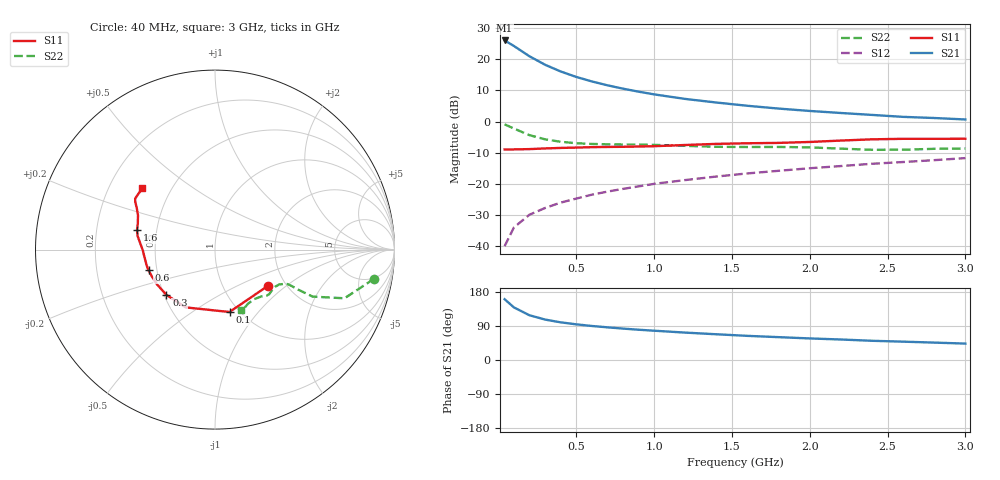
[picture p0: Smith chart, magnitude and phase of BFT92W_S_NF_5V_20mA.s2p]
! Filename:  BFT92WE.S2P  Version:  4.0
! Philips part #: BFT92W  Date: Jun 1994
! Bias condition: Vce=5V, Ic=20mA
#  MHz  S  MA  R  50
! Freq  S11  S21  S12  S22  !GUM [dB]
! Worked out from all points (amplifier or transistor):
!   21 points, 40 MHz to 3 GHz, reference 50 ohm
!   highest |S21| = 26.0 dB at 40 MHz (marker M1)
!   |S21| within 3 dB of that: start of sweep to 136.8 MHz
!   unconditionally stable (mu >= 1): 358.6 MHz to end of sweep
!   at 300 MHz: K = 0.94, MSG = 23.0 dB, |S12| = -27.7 dB
!   at 1 GHz: K = 1.23, MAG = 11.5 dB, |S12| = -20.0 dB
!   at 3 GHz: K = 1.12, MAG = 4.1 dB, |S12| = -11.7 dB
!   lowest NFmin = 3.90 dB at 500 MHz
!   S11 on the Smith chart (normalised r, x): 40 MHz: 1.62, -0.75; 100 MHz: 0.90, -0.72; 300 MHz: 0.51, -0.30; 600 MHz: 0.45, -0.12; 1.6 GHz: 0.39, +0.11; 3 GHz: 0.34, +0.33
40  0.357 -34.6  19.99 160.4  0.01 78.8  0.901 -10.4
100  0.357 -76.9  16.28 138.7  0.02 68.5  0.771 -20.6
200  0.361 -116.9  11.13 118.0  0.032 63.1  0.604 -25.7
300  0.37 -137.1  8.146 106.7  0.041 63.0  0.518 -25.7
400  0.377 -149.2  6.36 99.4  0.05 65.3  0.473 -25.4
500  0.382 -156.8  5.198 94.1  0.058 66.4  0.449 -25.4
600  0.388 -162.7  4.401 89.8  0.067 68.1  0.437 -25.8
700  0.391 -167.4  3.815 86.2  0.075 68.9  0.431 -26.2
800  0.393 -171.6  3.371 82.9  0.083 69.8  0.428 -26.5
900  0.397 -175.6  3.017 79.9  0.091 70.3  0.426 -26.7
1000  0.402 -179.3  2.729 77.3  0.1 70.9  0.422 -27.1
1200  0.42 174.6  2.305 72.3  0.115 71.8  0.407 -28.5
1400  0.438 170.0  2.018 67.9  0.131 72.6  0.393 -31.9
1600  0.448 165.9  1.789 63.7  0.147 72.9  0.39 -36.4
1800  0.454 161.3  1.614 60.3  0.162 73.7  0.391 -39.5
2000  0.47 155.9  1.478 56.9  0.178 74.3  0.385 -41.9
2200  0.495 151.8  1.371 54.1  0.193 74.9  0.367 -45.4
2400  0.518 149.1  1.277 50.7  0.21 75.2  0.352 -51.6
2600  0.528 147.4  1.188 48.4  0.224 75.2  0.353 -58.6
2800  0.528 144.1  1.139 45.9  0.24 75.6  0.365 -63.5
3000  0.529 139.8  1.079 43.3  0.259 75.8  0.369 -66.8
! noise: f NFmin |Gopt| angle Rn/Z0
500  3.9  0.17  139  0.43
1000  5  0.23  153  0.59
